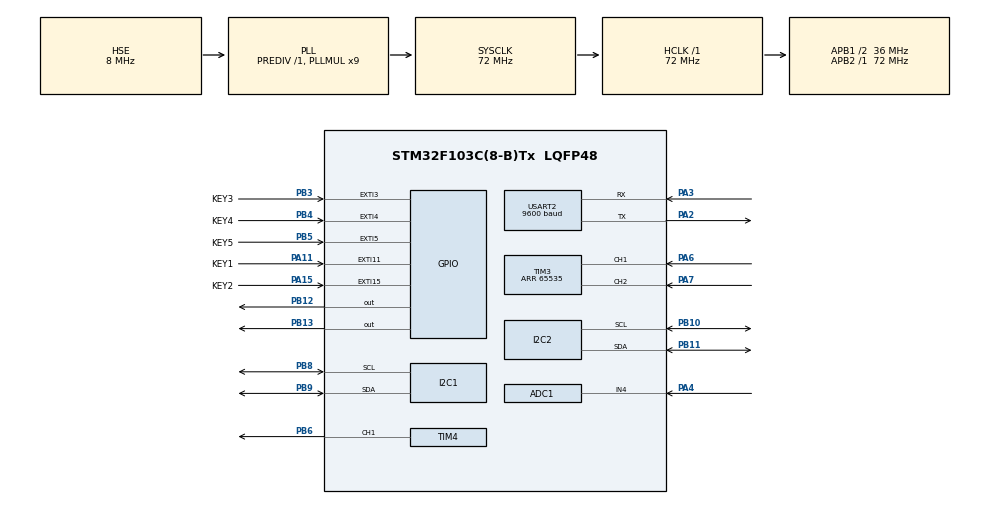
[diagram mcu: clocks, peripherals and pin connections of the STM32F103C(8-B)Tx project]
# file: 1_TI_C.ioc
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ADC1.Channel-0\#ChannelRegularConversion=ADC_CHANNEL_4
ADC1.ContinuousConvMode=ENABLE
ADC1.NbrOfConversionFlag=1
ADC1.Rank-0\#ChannelRegularConversion=1
ADC1.SamplingTime-0\#ChannelRegularConversion=ADC_SAMPLETIME_1CYCLE_5
ADC1.master=1
Dma.Request0=USART2_RX
Dma.Request1=USART2_TX
Dma.USART2_RX.0.Direction=DMA_PERIPH_TO_MEMORY
Dma.USART2_RX.0.Instance=DMA1_Channel6
Dma.USART2_RX.0.MemDataAlignment=DMA_MDATAALIGN_BYTE
Dma.USART2_RX.0.MemInc=DMA_MINC_ENABLE
Dma.USART2_RX.0.Mode=DMA_NORMAL
Dma.USART2_RX.0.PeriphDataAlignment=DMA_PDATAALIGN_BYTE
Dma.USART2_RX.0.PeriphInc=DMA_PINC_DISABLE
Dma.USART2_RX.0.Priority=DMA_PRIORITY_LOW
Dma.USART2_TX.1.Direction=DMA_MEMORY_TO_PERIPH
Dma.USART2_TX.1.Instance=DMA1_Channel7
Dma.USART2_TX.1.MemDataAlignment=DMA_MDATAALIGN_BYTE
Dma.USART2_TX.1.MemInc=DMA_MINC_ENABLE
Dma.USART2_TX.1.Mode=DMA_NORMAL
Dma.USART2_TX.1.PeriphDataAlignment=DMA_PDATAALIGN_BYTE
Dma.USART2_TX.1.PeriphInc=DMA_PINC_DISABLE
Dma.USART2_TX.1.Priority=DMA_PRIORITY_LOW
I2C1.I2C_Mode=I2C_Fast
I2C2.I2C_Mode=I2C_Fast
Mcu.Family=STM32F1
Mcu.Name=STM32F103C(8-B)Tx
Mcu.Package=LQFP48
NVIC.DMA1_Channel6_IRQn=true\:0\:0\:false\:false\:true\:false\:true\:true
NVIC.DMA1_Channel7_IRQn=true\:0\:0\:false\:false\:true\:false\:true\:true
NVIC.EXTI15_10_IRQn=true\:0\:0\:false\:false\:true\:true\:true\:true
NVIC.EXTI3_IRQn=true\:0\:0\:false\:false\:true\:true\:true\:true
NVIC.EXTI4_IRQn=true\:0\:0\:false\:false\:true\:true\:true\:true
NVIC.EXTI9_5_IRQn=true\:0\:0\:false\:false\:true\:true\:true\:true
NVIC.PriorityGroup=NVIC_PRIORITYGROUP_4
NVIC.TIM2_IRQn=true\:0\:0\:false\:false\:true\:true\:true\:true
NVIC.USART2_IRQn=true\:0\:0\:false\:false\:true\:true\:true\:true
PA11.GPIO_Label=KEY1
PA11.GPIO_ModeDefaultEXTI=GPIO_MODE_IT_FALLING
PA11.GPIO_PuPd=GPIO_PULLUP
PA11.Signal=GPXTI11
PA13.Mode=Serial_Wire
PA13.Signal=SYS_JTMS-SWDIO
PA14.Mode=Serial_Wire
PA14.Signal=SYS_JTCK-SWCLK
PA15.GPIO_Label=KEY2
PA15.GPIO_ModeDefaultEXTI=GPIO_MODE_IT_FALLING
PA15.GPIO_PuPd=GPIO_PULLUP
PA15.Signal=GPXTI15
PA2.Mode=Asynchronous
PA2.Signal=USART2_TX
PA3.Mode=Asynchronous
PA3.Signal=USART2_RX
PA4.Signal=ADCx_IN4
PA6.Signal=S_TIM3_CH1
PA7.Signal=S_TIM3_CH2
PB10.Mode=I2C
PB10.Signal=I2C2_SCL
PB11.Mode=I2C
PB11.Signal=I2C2_SDA
PB12.Signal=GPIO_Output
PB13.Signal=GPIO_Output
PB3.GPIO_Label=KEY3
PB3.GPIO_ModeDefaultEXTI=GPIO_MODE_IT_FALLING
PB3.GPIO_PuPd=GPIO_PULLUP
PB3.Signal=GPXTI3
PB4.GPIO_Label=KEY4
PB4.GPIO_ModeDefaultEXTI=GPIO_MODE_IT_FALLING
PB4.GPIO_PuPd=GPIO_PULLUP
PB4.Signal=GPXTI4
PB5.GPIO_Label=KEY5
PB5.GPIO_ModeDefaultEXTI=GPIO_MODE_IT_FALLING
PB5.GPIO_PuPd=GPIO_PULLUP
PB5.Signal=GPXTI5
PB6.Signal=S_TIM4_CH1
PB8.Mode=I2C
PB8.Signal=I2C1_SCL
PB9.Mode=I2C
PB9.Signal=I2C1_SDA
PD0-OSC_IN.Mode=HSE-External-Oscillator
PD0-OSC_IN.Signal=RCC_OSC_IN
PD1-OSC_OUT.Mode=HSE-External-Oscillator
PD1-OSC_OUT.Signal=RCC_OSC_OUT
ProjectManager.HeapSize=0x200
ProjectManager.StackSize=0x400
ProjectManager.TargetToolchain=STM32CubeIDE
RCC.ADCPresc=RCC_ADCPCLK2_DIV6
RCC.AHBFreq_Value=72000000
RCC.APB1CLKDivider=RCC_HCLK_DIV2
RCC.APB1Freq_Value=36000000
RCC.APB1TimFreq_Value=72000000
RCC.APB2Freq_Value=72000000
RCC.APB2TimFreq_Value=72000000
RCC.HCLKFreq_Value=72000000
RCC.PLLMUL=RCC_PLL_MUL9
RCC.PLLSourceVirtual=RCC_PLLSOURCE_HSE
RCC.SYSCLKFreq_VALUE=72000000
RCC.SYSCLKSource=RCC_SYSCLKSOURCE_PLLCLK
RCC.USBFreq_Value=72000000
SH.ADCx_IN4.0=ADC1_IN4,IN4
SH.S_TIM3_CH1.0=TIM3_CH1,Encoder_Interface
SH.S_TIM3_CH2.0=TIM3_CH2,Encoder_Interface
SH.S_TIM4_CH1.0=TIM4_CH1,PWM Generation1 CH1
TIM2.Period=100
TIM2.Prescaler=7199
TIM3.EncoderMode=TIM_ENCODERMODE_TI12
TIM3.Period=65535
TIM4.Channel-PWM\ Generation1\ CH1=TIM_CHANNEL_1
TIM4.Period=7200-1
TIM4.Prescaler=0
USART2.BaudRate=9600
USART2.VirtualMode=VM_ASYNC
VP_TIM2_VS_ClockSourceINT.Mode=Internal
VP_TIM4_VS_ClockSourceINT.Mode=Internal
board=custom

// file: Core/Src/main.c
/* USER CODE BEGIN Header */
/**
  ******************************************************************************
  * @file           : main.c
  * @brief          : Main program body
  ******************************************************************************
  * @attention
  *
  * Copyright (c) 2025 STMicroelectronics.
  * All rights reserved.
  *
  * This software is licensed under terms that can be found in the LICENSE file
  * in the root directory of this software component.
  * If no LICENSE file comes with this software, it is provided AS-IS.
  *
  ******************************************************************************
  */
/* USER CODE END Header */
#include "main.h"
#include "adc.h"
#include "dma.h"
#include "i2c.h"
#include "tim.h"
#include "usart.h"
#include "gpio.h"

/* USER CODE BEGIN Includes */
#include "oled.h"
#include "stdio.h"
#include "stdlib.h"
#include "my_main.h"
#include "pid.h"
/* USER CODE END Includes */

/* USER CODE BEGIN PD */
char message_0[20];
char message_1[20];
char message_1x[20];
char message_2[20];
char message_4[20];
/* USER CODE END PD */

/* USER CODE BEGIN PV */
int key=0;
int key_real=0;
int t=3;
int t_new=1;
int angle;
extern int flag_2;
char message[20]="0";
char en_speed[20]="";
char en_place[20]="";
char adc_xx[20];
char key_x[20];
char angle_n[20];
int angle1;
int angle2;
extern uint16_t adc_value;
extern int flag_y;
extern int Encoder_Cnt;
extern float Encoder_Integral;
extern PID_InitTypeDef Turn_PID_1;
extern PID_InitTypeDef Turn_PID_2;
int y_screen;
uint8_t order[10];
extern DMA_HandleTypeDef hdma_usart2_rx;
extern DMA_HandleTypeDef hdma_usart2_tx;
extern UART_HandleTypeDef huart2;
/* USER CODE END PV */

void SystemClock_Config(void);
/* USER CODE BEGIN PFP */

/**************************************************************************
函数功能：单位时间读取ADC
入口参数：TIM
返回  值：ADC
**************************************************************************/

/**************************************************************************
函数功能：卡尔曼滤波
入口参数：inData
返回  值：inData
**************************************************************************/
//卡尔曼滤波

/* USER CODE END PFP */

/* USER CODE BEGIN 0 */
void HAL_UARTEx_RxEventCallback(UART_HandleTypeDef *huart,uint16_t Size)
{
    if(huart==&huart2)
    {
        key_real=order[0];
        HAL_UARTEx_ReceiveToIdle_DMA(&huart2,order,sizeof(order));
        __HAL_DMA_DISABLE_IT(&hdma_usart2_rx,DMA_IT_HT);
    }
}
void HAL_GPIO_EXTI_Callback(uint16_t GPIO_Pin)
{
     if(GPIO_Pin==KEY1_Pin)
     {
         if(key_real==1)
         {
             Load(-2000);
         }
         else
         {
             key+=1;
         }
     }
     else if(GPIO_Pin==KEY2_Pin)
     {
         if (key_real == 1)
         {
             Load(2000);
         } else
         {
             key += 2;
         }
     }
     else if(GPIO_Pin==KEY3_Pin)
     {
         if (key_real == 1)
         {
             Load(0);
         } else
         {
             key += 3;
         }
     }
     else if(GPIO_Pin==KEY4_Pin)
     {
         key_real = key;
         key = 0;
     }
     else if(GPIO_Pin==KEY5_Pin)
     {
            key=0;
            key_real=0;
            Load(0);
     }
}
float encoder_to_angle(int32_t encoder_count, int32_t cpr) {
    // 1. 计算单圈位置（处理负数）
    int32_t single_turns = (encoder_count % cpr + cpr) % cpr;

    // 2. 转换为0~360°
    float angle_raw = (single_turns * 360.0f) / cpr;

    // 3. 调整到-180°~+180°
    return (angle_raw >= 180) ? (angle_raw - 360) : angle_raw;
}
uint8_t angle_to_screen(int8_t angle) {
    // 将-90~90映射到63~0
    return (uint8_t)(64 - 1 - ((angle - (-90)) * 64) / (90 - (-90)));
}
// 调用示例
/* USER CODE END 0 */

int main(void)
{

  /* MCU Configuration--------------------------------------------------------*/

  /* Reset of all peripherals, Initializes the Flash interface and the Systick. */
  HAL_Init();

  /* Configure the system clock */
  SystemClock_Config();

  /* Initialize all configured peripherals */
  MX_GPIO_Init();
  MX_DMA_Init();
  MX_I2C1_Init();
  MX_USART2_UART_Init();
  MX_TIM4_Init();
  MX_TIM3_Init();
  MX_TIM2_Init();
  MX_ADC1_Init();
  MX_I2C2_Init();
  /* USER CODE BEGIN 2 */
  OLED_Init();
  HAL_UARTEx_ReceiveToIdle_DMA(&huart2,order,sizeof(order));
  __HAL_DMA_DISABLE_IT(&hdma_usart2_rx,DMA_IT_HT);
  HAL_TIM_Base_Start_IT(&htim2);
  HAL_TIM_Encoder_Start(&htim3,TIM_CHANNEL_ALL);
  HAL_TIM_PWM_Start(&htim4,TIM_CHANNEL_1);
  HAL_ADCEx_Calibration_Start(&hadc1);
  HAL_ADC_Start(&hadc1);
  HAL_ADC_PollForConversion(&hadc1,HAL_MAX_DELAY);
    PID_Init(&Turn_PID_1,
             -0.0756,//78,    // Kpa（比例项主导） 2000->15; 15/2000
             0,    // Kpb（误差>200时增强响应）
             -0.18,    // Kd（抑制震荡）
             0,    // gkd（未使用）
             1000
    );

// 外环（缓慢平衡编码器积分）
    PID_Init(&Turn_PID_2,
             -432,   // Kpa（小增益防超调）15->7200   7200/15
             0,   // Kpb（抑制积分饱和）
             -60,    // Kd（快速阻尼）
             0,
             7200
    );
  /* USER CODE END 2 */

  /* Infinite loop */
  /* USER CODE BEGIN WHILE */
  while (1)
  {
      angle1 = (Encoder_Integral * 360.0 / 1074.0);  // 根据编码器位置和每圈脉冲数计算角度
      if(adc_value<130&&adc_value>0)
      {
          angle2=-(adc_value-150)*360/4096;
      }
      else if(adc_value>2260&&adc_value<4096)
      {
          angle2=17-(adc_value-4096)*360/4096;
      }
      else
      {
          angle2=-(adc_value-130)*360/4096+4;
      }
      angle = encoder_to_angle(Encoder_Integral, 1074);
      sprintf(key_x,"按键值累加%d",key);
      sprintf(angle_n,"当前功能%d",key_real);
      sprintf(en_place,"en_place %d",angle);
      sprintf(adc_xx,"adc %d",adc_value);
      if(key_real!=8)
      {
          OLED_NewFrame();
          OLED_PrintString(0, 0, key_x, &font15x15, OLED_COLOR_NORMAL);
          OLED_PrintString(0, 15, angle_n, &font15x15, OLED_COLOR_NORMAL);
      }
      if(key_real==0)
      {
          sprintf(message_0,"已暂停");
          OLED_PrintString(0, 30, message_0, &font15x15, OLED_COLOR_NORMAL);
      }
      else if(key_real==1)
      {
          sprintf(message_1,"当前角度值%d",angle);
          sprintf(message_1x,"一正转二反转");
          OLED_PrintString(0, 30, message_1, &font15x15, OLED_COLOR_NORMAL);
          OLED_PrintString(0, 45, message_1x, &font15x15, OLED_COLOR_NORMAL);
      }
      else if(key_real==2||key_real==3)
      {
          sprintf(message_2,"当前摆杆角度%d",angle2);
          OLED_PrintString(0, 30, message_2, &font15x15, OLED_COLOR_NORMAL);
      }
      else if(key_real==4)
      {
          sprintf(message_4,"倒立平衡状态");
          OLED_PrintString(0, 30, message_4, &font15x15, OLED_COLOR_NORMAL);
      }
      else if(key_real==8)
      {
          if(t_new)
          {
              t_new--;
              OLED_NewFrame();
          }
          OLED_DrawLine(0, 32, 125, 32, OLED_COLOR_NORMAL);
          // X轴箭头
          OLED_DrawLine(123, 30, 125, 32, OLED_COLOR_NORMAL);
          OLED_DrawLine(123, 34, 125, 32, OLED_COLOR_NORMAL);
          // Y轴（垂直线）
          OLED_DrawLine(3, 0, 3, 64, OLED_COLOR_NORMAL);
          // Y轴箭头
          OLED_DrawLine(3, 0, 0, 3, OLED_COLOR_NORMAL);
          OLED_DrawLine(3, 0, 6, 3, OLED_COLOR_NORMAL);

          // 获取当前和下一个点的Y坐标
          uint8_t y_current = angle_to_screen(angle);
          uint8_t y_next = angle_to_screen(angle);
          // 绘制线段
          OLED_SetPixel(t,y_current+25,OLED_COLOR_NORMAL);
          OLED_DrawLine(t,y_current+25,t+1,y_next+25,OLED_COLOR_NORMAL);
          t++;
          if(t>124)
          {
              t=3;
              OLED_NewFrame();
          }
      }
//      OLED_PrintString(0, 32, en_place, &font16x16, OLED_COLOR_NORMAL);
//      OLED_PrintString(0, 48, adc_xx, &font16x16, OLED_COLOR_NORMAL);
      OLED_ShowFrame();

    /* USER CODE END WHILE */

  }
}

void SystemClock_Config(void)
{
  RCC_OscInitTypeDef RCC_OscInitStruct = {0};
  RCC_ClkInitTypeDef RCC_ClkInitStruct = {0};
  RCC_PeriphCLKInitTypeDef PeriphClkInit = {0};

  /** Initializes the RCC Oscillators according to the specified parameters
  * in the RCC_OscInitTypeDef structure.
  */
  RCC_OscInitStruct.OscillatorType = RCC_OSCILLATORTYPE_HSE;
  RCC_OscInitStruct.HSEState = RCC_HSE_ON;
  RCC_OscInitStruct.HSEPredivValue = RCC_HSE_PREDIV_DIV1;
  RCC_OscInitStruct.HSIState = RCC_HSI_ON;
  RCC_OscInitStruct.PLL.PLLState = RCC_PLL_ON;
  RCC_OscInitStruct.PLL.PLLSource = RCC_PLLSOURCE_HSE;
  RCC_OscInitStruct.PLL.PLLMUL = RCC_PLL_MUL9;
  if (HAL_RCC_OscConfig(&RCC_OscInitStruct) != HAL_OK)
  {
    Error_Handler();
  }

  /** Initializes the CPU, AHB and APB buses clocks
  */
  RCC_ClkInitStruct.ClockType = RCC_CLOCKTYPE_HCLK|RCC_CLOCKTYPE_SYSCLK
                              |RCC_CLOCKTYPE_PCLK1|RCC_CLOCKTYPE_PCLK2;
  RCC_ClkInitStruct.SYSCLKSource = RCC_SYSCLKSOURCE_PLLCLK;
  RCC_ClkInitStruct.AHBCLKDivider = RCC_SYSCLK_DIV1;
  RCC_ClkInitStruct.APB1CLKDivider = RCC_HCLK_DIV2;
  RCC_ClkInitStruct.APB2CLKDivider = RCC_HCLK_DIV1;

  if (HAL_RCC_ClockConfig(&RCC_ClkInitStruct, FLASH_LATENCY_2) != HAL_OK)
  {
    Error_Handler();
  }
  PeriphClkInit.PeriphClockSelection = RCC_PERIPHCLK_ADC;
  PeriphClkInit.AdcClockSelection = RCC_ADCPCLK2_DIV6;
  if (HAL_RCCEx_PeriphCLKConfig(&PeriphClkInit) != HAL_OK)
  {
    Error_Handler();
  }
}

void Error_Handler(void)
{
  __disable_irq();
  while (1)
  {
  }
}
